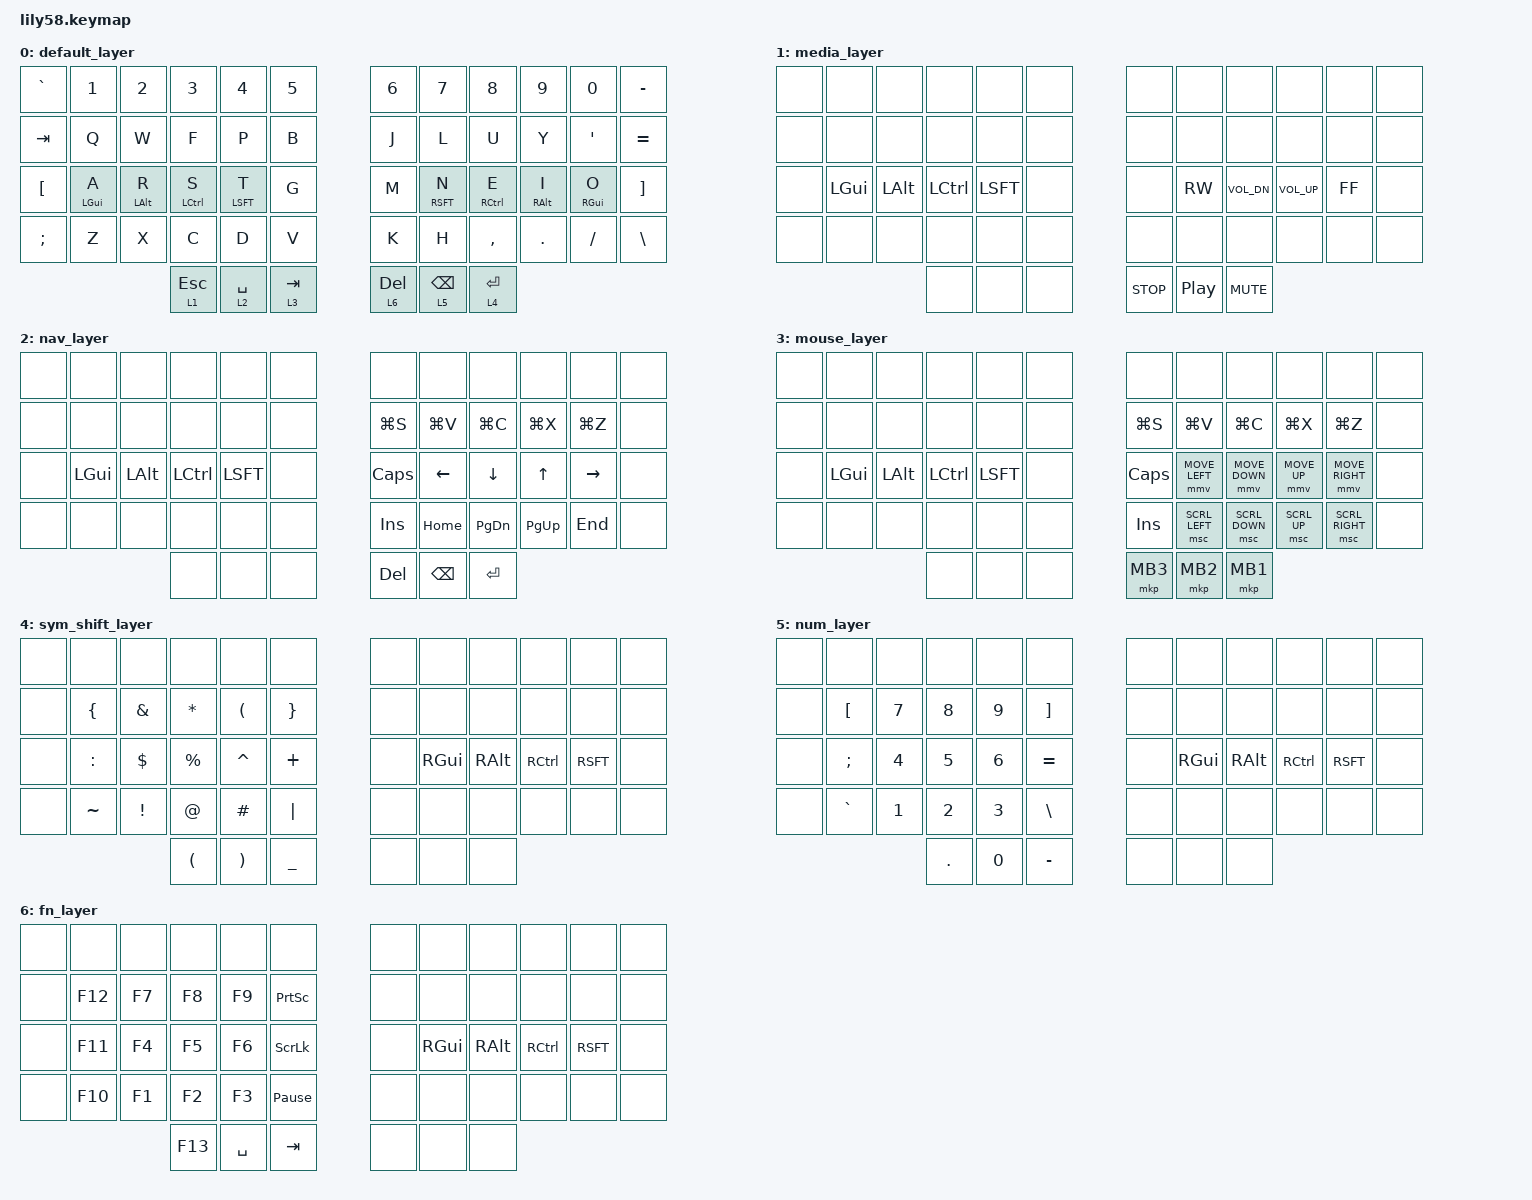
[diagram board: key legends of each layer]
#include <behaviors.dtsi>
#include <dt-bindings/zmk/keys.h>
#include <dt-bindings/zmk/mouse.h>

/*
 * Lily58 Key Positions (0-indexed, used for combos):
 *
 * LEFT HALF                          RIGHT HALF
 *  0   1   2   3   4   5             6   7   8   9  10  11
 * 12  13  14  15  16  17            18  19  20  21  22  23
 * 24  25  26  27  28  29            30  31  32  33  34  35
 * 36  37  38  39  40  41            42  43  44  45  46  47
 *             48  49  50            51  52  53
 */

/ {

    /* ─── BEHAVIORS ──────────────────────────────────────────── */
    behaviors {

        /* Home-row mod-tap: balanced flavor, matches your Vial tapping_term=175ms */
        hm: homerow_mods {
            compatible = "zmk,behavior-hold-tap";
            #binding-cells = <2>;
            flavor = "balanced";
            tapping-term-ms = <175>;
            quick-tap-ms = <190>;
            require-prior-idle-ms = <100>;
            bindings = <&kp>, <&kp>;
        };

        /* Layer-tap: balanced flavor for thumb keys */
        lt_bal: layer_tap_balanced {
            compatible = "zmk,behavior-hold-tap";
            #binding-cells = <2>;
            flavor = "balanced";
            tapping-term-ms = <175>;
            quick-tap-ms = <190>;
            bindings = <&mo>, <&kp>;
        };
    };

    /* ─── COMBOS ─────────────────────────────────────────────── */
    combos {
        compatible = "zmk,combos";

        /* Q(13) + W(14) → Escape */
        combo_esc_qw {
            timeout-ms = <50>;
            key-positions = <13 14>;
            bindings = <&kp ESC>;
        };

        /* Q(13) + W(14) + F(15) → LGUI(Q) */
        combo_gui_q {
            timeout-ms = <50>;
            key-positions = <13 14 15>;
            bindings = <&kp LG(Q)>;
        };

        /* L(19) + U(20) → Escape */
        combo_esc_lu {
            timeout-ms = <50>;
            key-positions = <19 20>;
            bindings = <&kp ESC>;
        };

        /* COMMA(44) + DOT(45) → One-shot MEH (Ctrl+Alt+Shift) */
        combo_meh {
            timeout-ms = <50>;
            key-positions = <44 45>;
            bindings = <&sk LS(LC(LALT))>;
        };

        /* U(20) + Y(21) → Quote */
        combo_quote {
            timeout-ms = <50>;
            key-positions = <20 21>;
            bindings = <&kp SQT>;
        };

        /* W(14) + F(15) → One-shot LGUI */
        combo_osm_gui {
            timeout-ms = <50>;
            key-positions = <14 15>;
            bindings = <&sk LGUI>;
        };

        /* C(39) + D(40) → LGUI(C) = Copy */
        combo_copy {
            timeout-ms = <50>;
            key-positions = <39 40>;
            bindings = <&kp LG(C)>;
        };

        /* X(38) + C(39) → LGUI(X) = Cut */
        combo_cut {
            timeout-ms = <50>;
            key-positions = <38 39>;
            bindings = <&kp LG(X)>;
        };
    };

    /* ─── KEYMAP ─────────────────────────────────────────────── */
    keymap {
        compatible = "zmk,keymap";

        /* ── Layer 0: Colemak-DH base with home-row mods ─────── */
        default_layer {
            bindings = <
// ╭──────────┬──────────┬──────────┬──────────┬──────────┬──────────╮   ╭──────────┬──────────┬──────────┬──────────┬──────────┬──────────╮
    &kp GRAVE  &kp N1     &kp N2     &kp N3     &kp N4     &kp N5         &kp N6     &kp N7     &kp N8     &kp N9     &kp N0     &kp MINUS
// ├──────────┼──────────┼──────────┼──────────┼──────────┼──────────┤   ├──────────┼──────────┼──────────┼──────────┼──────────┼──────────┤
    &kp TAB    &kp Q      &kp W      &kp F      &kp P      &kp B          &kp J      &kp L      &kp U      &kp Y      &kp SQT    &kp EQUAL
// ├──────────┼──────────┼──────────┼──────────┼──────────┼──────────┤   ├──────────┼──────────┼──────────┼──────────┼──────────┼──────────┤
    &kp LBKT   &hm LGUI A &hm LALT R &hm LCTL S &hm LSFT T &kp G         &kp M      &hm RSFT N &hm RCTL E &hm RALT I &hm RGUI O &kp RBKT
// ├──────────┼──────────┼──────────┼──────────┼──────────┼──────────┤   ├──────────┼──────────┼──────────┼──────────┼──────────┼──────────┤
    &kp SEMI   &kp Z      &kp X      &kp C      &kp D      &kp V          &kp K      &kp H      &kp COMMA  &kp DOT    &kp FSLH   &kp BSLH
// ╰──────────┴──────────┴──────────┼──────────┼──────────┼──────────┤   ├──────────┼──────────┼──────────┼──────────┴──────────┴──────────╯
                                     &lt_bal 1 ESC &lt_bal 2 SPACE &lt_bal 3 TAB   &lt_bal 6 DEL &lt_bal 5 BSPC &lt_bal 4 ENTER
//                                  ╰──────────┴──────────┴──────────╯   ╰──────────┴──────────┴──────────╯
            >;
        };

        /* ── Layer 1: Media controls ─────────────────────────── */
        media_layer {
            bindings = <
// ╭──────────┬──────────┬──────────┬──────────┬──────────┬──────────╮   ╭──────────┬──────────┬──────────┬──────────┬──────────┬──────────╮
    &none      &none      &none      &none      &none      &none          &none      &none      &none      &none      &none      &none
// ├──────────┼──────────┼──────────┼──────────┼──────────┼──────────┤   ├──────────┼──────────┼──────────┼──────────┼──────────┼──────────┤
    &none      &none      &none      &none      &none      &none          &none      &none      &none      &none      &none      &none
// ├──────────┼──────────┼──────────┼──────────┼──────────┼──────────┤   ├──────────┼──────────┼──────────┼──────────┼──────────┼──────────┤
    &none      &kp LGUI   &kp LALT   &kp LCTL   &kp LSFT   &none          &none      &kp C_RW   &kp C_VOL_DN &kp C_VOL_UP &kp C_FF &none
// ├──────────┼──────────┼──────────┼──────────┼──────────┼──────────┤   ├──────────┼──────────┼──────────┼──────────┼──────────┼──────────┤
    &none      &none      &none      &none      &none      &none          &none      &none      &none      &none      &none      &none
// ╰──────────┴──────────┴──────────┼──────────┼──────────┼──────────┤   ├──────────┼──────────┼──────────┼──────────┴──────────┴──────────╯
                                     &none      &none      &none          &kp C_STOP &kp C_PP   &kp C_MUTE
//                                  ╰──────────┴──────────┴──────────╯   ╰──────────┴──────────┴──────────╯
            >;
        };

        /* ── Layer 2: Navigation + GUI shortcuts ─────────────── */
        nav_layer {
            bindings = <
// ╭──────────┬──────────┬──────────┬──────────┬──────────┬──────────╮   ╭──────────┬──────────┬──────────┬──────────┬──────────┬──────────╮
    &none      &none      &none      &none      &none      &none          &none      &none      &none      &none      &none      &none
// ├──────────┼──────────┼──────────┼──────────┼──────────┼──────────┤   ├──────────┼──────────┼──────────┼──────────┼──────────┼──────────┤
    &none      &none      &none      &none      &none      &none          &kp LG(S)  &kp LG(V)  &kp LG(C)  &kp LG(X)  &kp LG(Z)  &none
// ├──────────┼──────────┼──────────┼──────────┼──────────┼──────────┤   ├──────────┼──────────┼──────────┼──────────┼──────────┼──────────┤
    &none      &kp LGUI   &kp LALT   &kp LCTL   &kp LSFT   &none          &kp CAPS   &kp LEFT   &kp DOWN   &kp UP     &kp RIGHT  &none
// ├──────────┼──────────┼──────────┼──────────┼──────────┼──────────┤   ├──────────┼──────────┼──────────┼──────────┼──────────┼──────────┤
    &none      &none      &none      &none      &none      &none          &kp INS    &kp HOME   &kp PG_DN  &kp PG_UP  &kp END    &none
// ╰──────────┴──────────┴──────────┼──────────┼──────────┼──────────┤   ├──────────┼──────────┼──────────┼──────────┴──────────┴──────────╯
                                     &none      &none      &none          &kp DEL    &kp BSPC   &kp ENTER
//                                  ╰──────────┴──────────┴──────────╯   ╰──────────┴──────────┴──────────╯
            >;
        };

        /* ── Layer 3: Mouse keys ─────────────────────────────── */
        mouse_layer {
            bindings = <
// ╭──────────┬──────────┬──────────┬──────────┬──────────┬──────────╮   ╭──────────┬──────────┬──────────┬──────────┬──────────┬──────────╮
    &none      &none      &none      &none      &none      &none          &none      &none      &none      &none      &none      &none
// ├──────────┼──────────┼──────────┼──────────┼──────────┼──────────┤   ├──────────┼──────────┼──────────┼──────────┼──────────┼──────────┤
    &none      &none      &none      &none      &none      &none          &kp LG(S)  &kp LG(V)  &kp LG(C)  &kp LG(X)  &kp LG(Z)  &none
// ├──────────┼──────────┼──────────┼──────────┼──────────┼──────────┤   ├──────────┼──────────┼──────────┼──────────┼──────────┼──────────┤
    &none      &kp LGUI   &kp LALT   &kp LCTL   &kp LSFT   &none          &kp CAPS   &mmv MOVE_LEFT &mmv MOVE_DOWN &mmv MOVE_UP &mmv MOVE_RIGHT &none
// ├──────────┼──────────┼──────────┼──────────┼──────────┼──────────┤   ├──────────┼──────────┼──────────┼──────────┼──────────┼──────────┤
    &none      &none      &none      &none      &none      &none          &kp INS    &msc SCRL_LEFT &msc SCRL_DOWN &msc SCRL_UP &msc SCRL_RIGHT &none
// ╰──────────┴──────────┴──────────┼──────────┼──────────┼──────────┤   ├──────────┼──────────┼──────────┼──────────┴──────────┴──────────╯
                                     &none      &none      &none          &mkp MB3   &mkp MB2   &mkp MB1
//                                  ╰──────────┴──────────┴──────────╯   ╰──────────┴──────────┴──────────╯
            >;
        };

        /* ── Layer 4: Shifted symbols ────────────────────────── */
        sym_shift_layer {
            bindings = <
// ╭──────────┬──────────┬──────────┬──────────┬──────────┬──────────╮   ╭──────────┬──────────┬──────────┬──────────┬──────────┬──────────╮
    &none      &none      &none      &none      &none      &none          &none      &none      &none      &none      &none      &none
// ├──────────┼──────────┼──────────┼──────────┼──────────┼──────────┤   ├──────────┼──────────┼──────────┼──────────┼──────────┼──────────┤
    &none      &kp LBRC   &kp AMPS   &kp STAR   &kp LPAR   &kp RBRC       &none      &none      &none      &none      &none      &none
// ├──────────┼──────────┼──────────┼──────────┼──────────┼──────────┤   ├──────────┼──────────┼──────────┼──────────┼──────────┼──────────┤
    &none      &kp COLN   &kp DLLR   &kp PRCNT  &kp CARET  &kp PLUS       &none      &kp RGUI   &kp RALT   &kp RCTL   &kp RSFT   &none
// ├──────────┼──────────┼──────────┼──────────┼──────────┼──────────┤   ├──────────┼──────────┼──────────┼──────────┼──────────┼──────────┤
    &none      &kp TILDE  &kp EXCL   &kp AT     &kp HASH   &kp PIPE       &none      &none      &none      &none      &none      &none
// ╰──────────┴──────────┴──────────┼──────────┼──────────┼──────────┤   ├──────────┼──────────┼──────────┼──────────┴──────────┴──────────╯
                                     &kp LPAR   &kp RPAR   &kp UNDER      &none      &none      &none
//                                  ╰──────────┴──────────┴──────────╯   ╰──────────┴──────────┴──────────╯
            >;
        };

        /* ── Layer 5: Numbers ────────────────────────────────── */
        num_layer {
            bindings = <
// ╭──────────┬──────────┬──────────┬──────────┬──────────┬──────────╮   ╭──────────┬──────────┬──────────┬──────────┬──────────┬──────────╮
    &none      &none      &none      &none      &none      &none          &none      &none      &none      &none      &none      &none
// ├──────────┼──────────┼──────────┼──────────┼──────────┼──────────┤   ├──────────┼──────────┼──────────┼──────────┼──────────┼──────────┤
    &none      &kp LBKT   &kp N7     &kp N8     &kp N9     &kp RBKT       &none      &none      &none      &none      &none      &none
// ├──────────┼──────────┼──────────┼──────────┼──────────┼──────────┤   ├──────────┼──────────┼──────────┼──────────┼──────────┼──────────┤
    &none      &kp SEMI   &kp N4     &kp N5     &kp N6     &kp EQUAL      &none      &kp RGUI   &kp RALT   &kp RCTL   &kp RSFT   &none
// ├──────────┼──────────┼──────────┼──────────┼──────────┼──────────┤   ├──────────┼──────────┼──────────┼──────────┼──────────┼──────────┤
    &none      &kp GRAVE  &kp N1     &kp N2     &kp N3     &kp BSLH       &none      &none      &none      &none      &none      &none
// ╰──────────┴──────────┴──────────┼──────────┼──────────┼──────────┤   ├──────────┼──────────┼──────────┼──────────┴──────────┴──────────╯
                                     &kp DOT    &kp N0     &kp MINUS      &none      &none      &none
//                                  ╰──────────┴──────────┴──────────╯   ╰──────────┴──────────┴──────────╯
            >;
        };

        /* ── Layer 6: Function keys ──────────────────────────── */
        fn_layer {
            bindings = <
// ╭──────────┬──────────┬──────────┬──────────┬──────────┬──────────╮   ╭──────────┬──────────┬──────────┬──────────┬──────────┬──────────╮
    &none      &none      &none      &none      &none      &none          &none      &none      &none      &none      &none      &none
// ├──────────┼──────────┼──────────┼──────────┼──────────┼──────────┤   ├──────────┼──────────┼──────────┼──────────┼──────────┼──────────┤
    &none      &kp F12    &kp F7     &kp F8     &kp F9     &kp PSCRN      &none      &none      &none      &none      &none      &none
// ├──────────┼──────────┼──────────┼──────────┼──────────┼──────────┤   ├──────────┼──────────┼──────────┼──────────┼──────────┼──────────┤
    &none      &kp F11    &kp F4     &kp F5     &kp F6     &kp SLCK       &none      &kp RGUI   &kp RALT   &kp RCTL   &kp RSFT   &none
// ├──────────┼──────────┼──────────┼──────────┼──────────┼──────────┤   ├──────────┼──────────┼──────────┼──────────┼──────────┼──────────┤
    &none      &kp F10    &kp F1     &kp F2     &kp F3     &kp PAUSE_BREAK &none     &none      &none      &none      &none      &none
// ╰──────────┴──────────┴──────────┼──────────┼──────────┼──────────┤   ├──────────┼──────────┼──────────┼──────────┴──────────┴──────────╯
                                     &kp F13    &kp SPACE  &kp TAB        &none      &none      &none
//                                  ╰──────────┴──────────┴──────────╯   ╰──────────┴──────────┴──────────╯
            >;
        };
    };
};

